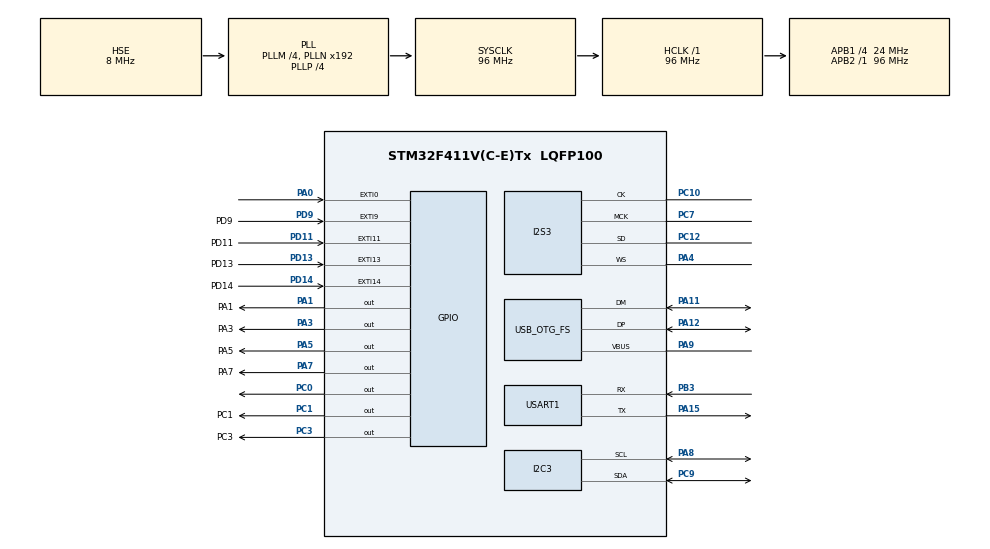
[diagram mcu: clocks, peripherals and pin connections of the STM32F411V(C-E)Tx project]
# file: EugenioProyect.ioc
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Dma.Request0=SPI3_TX
Dma.Request1=USART1_RX
Dma.Request2=USART1_TX
Dma.SPI3_TX.0.Direction=DMA_MEMORY_TO_PERIPH
Dma.SPI3_TX.0.FIFOMode=DMA_FIFOMODE_ENABLE
Dma.SPI3_TX.0.FIFOThreshold=DMA_FIFO_THRESHOLD_FULL
Dma.SPI3_TX.0.Instance=DMA1_Stream5
Dma.SPI3_TX.0.MemBurst=DMA_MBURST_SINGLE
Dma.SPI3_TX.0.MemDataAlignment=DMA_MDATAALIGN_HALFWORD
Dma.SPI3_TX.0.MemInc=DMA_MINC_ENABLE
Dma.SPI3_TX.0.Mode=DMA_CIRCULAR
Dma.SPI3_TX.0.PeriphBurst=DMA_PBURST_SINGLE
Dma.SPI3_TX.0.PeriphDataAlignment=DMA_PDATAALIGN_HALFWORD
Dma.SPI3_TX.0.PeriphInc=DMA_PINC_DISABLE
Dma.SPI3_TX.0.Priority=DMA_PRIORITY_VERY_HIGH
Dma.USART1_RX.1.Direction=DMA_PERIPH_TO_MEMORY
Dma.USART1_RX.1.FIFOMode=DMA_FIFOMODE_DISABLE
Dma.USART1_RX.1.Instance=DMA2_Stream2
Dma.USART1_RX.1.MemDataAlignment=DMA_MDATAALIGN_BYTE
Dma.USART1_RX.1.MemInc=DMA_MINC_ENABLE
Dma.USART1_RX.1.Mode=DMA_NORMAL
Dma.USART1_RX.1.PeriphDataAlignment=DMA_PDATAALIGN_BYTE
Dma.USART1_RX.1.PeriphInc=DMA_PINC_DISABLE
Dma.USART1_RX.1.Priority=DMA_PRIORITY_LOW
Dma.USART1_TX.2.Direction=DMA_MEMORY_TO_PERIPH
Dma.USART1_TX.2.FIFOMode=DMA_FIFOMODE_DISABLE
Dma.USART1_TX.2.Instance=DMA2_Stream7
Dma.USART1_TX.2.MemDataAlignment=DMA_MDATAALIGN_BYTE
Dma.USART1_TX.2.MemInc=DMA_MINC_ENABLE
Dma.USART1_TX.2.Mode=DMA_NORMAL
Dma.USART1_TX.2.PeriphDataAlignment=DMA_PDATAALIGN_BYTE
Dma.USART1_TX.2.PeriphInc=DMA_PINC_DISABLE
Dma.USART1_TX.2.Priority=DMA_PRIORITY_LOW
FATFS._USE_LFN=1
I2C3.I2C_Mode=I2C_Fast
I2S3.AudioFreq=I2S_AUDIOFREQ_44K
I2S3.ErrorAudioFreq=1.45 %
I2S3.FullDuplexMode=I2S_FULLDUPLEXMODE_DISABLE
I2S3.Instance=SPI$Index
I2S3.RealAudioFreq=44.642 KHz
I2S3.VirtualMode=I2S_MODE_MASTER
Mcu.Family=STM32F4
Mcu.Name=STM32F411V(C-E)Tx
Mcu.Package=LQFP100
NVIC.DMA1_Stream5_IRQn=true\:0\:0\:false\:false\:true\:false\:true\:true
NVIC.DMA2_Stream2_IRQn=true\:0\:0\:false\:false\:true\:false\:true\:true
NVIC.DMA2_Stream7_IRQn=true\:0\:0\:false\:false\:true\:false\:true\:true
NVIC.EXTI0_IRQn=true\:0\:0\:false\:false\:true\:true\:true\:true
NVIC.EXTI15_10_IRQn=true\:0\:0\:false\:false\:true\:true\:true\:true
NVIC.EXTI9_5_IRQn=true\:0\:0\:false\:false\:true\:true\:true\:true
NVIC.OTG_FS_IRQn=true\:0\:0\:false\:false\:true\:true\:true\:true
NVIC.PriorityGroup=NVIC_PRIORITYGROUP_0
NVIC.USART1_IRQn=true\:0\:0\:false\:false\:true\:true\:true\:true
PA0-WKUP.GPIO_PuPd=GPIO_PULLDOWN
PA0-WKUP.Signal=GPXTI0
PA1.GPIO_Label=PA1
PA1.PinState=GPIO_PIN_SET
PA1.Signal=GPIO_Output
PA11.Mode=Host_Only
PA11.Signal=USB_OTG_FS_DM
PA12.Mode=Host_Only
PA12.Signal=USB_OTG_FS_DP
PA15.Mode=Asynchronous
PA15.Signal=USART1_TX
PA3.GPIO_Label=PA3
PA3.PinState=GPIO_PIN_SET
PA3.Signal=GPIO_Output
PA4.Mode=Half_Duplex_Master
PA4.Signal=I2S3_WS
PA5.GPIO_Label=PA5
PA5.PinState=GPIO_PIN_SET
PA5.Signal=GPIO_Output
PA7.GPIO_Label=PA7
PA7.PinState=GPIO_PIN_SET
PA7.Signal=GPIO_Output
PA8.Mode=I2C
PA8.Signal=I2C3_SCL
PA9.Mode=Activate_VBUS
PA9.Signal=USB_OTG_FS_VBUS
PB3.Mode=Asynchronous
PB3.Signal=USART1_RX
PB9.GPIO_Pu=GPIO_PULLUP
PB9.Signal=I2C1_SDA
PC0.Signal=GPIO_Output
PC1.GPIO_Label=PC1
PC1.Signal=GPIO_Output
PC10.Mode=Half_Duplex_Master
PC10.Signal=I2S3_CK
PC12.Mode=Half_Duplex_Master
PC12.Signal=I2S3_SD
PC3.GPIO_Label=PC3
PC3.Signal=GPIO_Output
PC7.Mode=Master_Clock_Activated
PC7.Signal=I2S3_MCK
PC9.Mode=I2C
PC9.Signal=I2C3_SDA
PD11.GPIO_Label=PD11
PD11.GPIO_PuPd=GPIO_PULLUP
PD11.Signal=GPXTI11
PD13.GPIO_Label=PD13
PD13.GPIO_PuPd=GPIO_PULLUP
PD13.Signal=GPXTI13
PD14.GPIO_Label=PD14
PD14.GPIO_PuPd=GPIO_PULLUP
PD14.Signal=GPXTI14
PD9.GPIO_Label=PD9
PD9.GPIO_PuPd=GPIO_PULLUP
PD9.Signal=GPXTI9
PH0\ -\ OSC_IN.Mode=HSE-External-Oscillator
PH0\ -\ OSC_IN.Signal=RCC_OSC_IN
PH1\ -\ OSC_OUT.Mode=HSE-External-Oscillator
PH1\ -\ OSC_OUT.Signal=RCC_OSC_OUT
ProjectManager.HeapSize=0x200
ProjectManager.StackSize=0x400
ProjectManager.TargetToolchain=STM32CubeIDE
RCC.48MHZClocksFreq_Value=48000000
RCC.AHBFreq_Value=96000000
RCC.APB1CLKDivider=RCC_HCLK_DIV4
RCC.APB1Freq_Value=24000000
RCC.APB1TimFreq_Value=48000000
RCC.APB2Freq_Value=96000000
RCC.APB2TimFreq_Value=96000000
RCC.CortexFreq_Value=96000000
RCC.HCLKFreq_Value=96000000
RCC.HSE_VALUE=8000000
RCC.HSI_VALUE=16000000
RCC.LSE_VALUE=32768
RCC.PLLI2SM=5
RCC.PLLI2SN=200
RCC.PLLM=4
RCC.PLLP=RCC_PLLP_DIV4
RCC.PLLQ=8
RCC.SYSCLKFreq_VALUE=96000000
RCC.SYSCLKSource=RCC_SYSCLKSOURCE_PLLCLK
RCC.VCOOutputFreq_Value=384000000
USART1.VirtualMode=VM_ASYNC
USB_HOST.BSP.number=1
USB_HOST.USBH_HandleTypeDef=hUsbHostFS
USB_HOST.VirtualModeFS=Msc
USB_HOST0.BSP.STBoard=false
USB_HOST0.BSP.api=Unknown
USB_HOST0.BSP.instance=PC0
USB_HOST0.BSP.ip=GPIO
USB_HOST0.BSP.mode=Output
USB_HOST0.BSP.name=Drive_VBUS_FS
USB_HOST0.BSP.solution=PC0
USB_OTG_FS.VirtualMode=Host_Only
USB_OTG_FS.phy_itface=HCD_PHY_EMBEDDED
VP_FATFS_VS_USB.Mode=USB
VP_USB_HOST_VS_USB_HOST_MSC_FS.Mode=MSC_FS
board=STM32F411E-DISCO

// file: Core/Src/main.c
/* USER CODE BEGIN Header */
/**
  ******************************************************************************
  * @file           : main.c
  * @brief          : Main program body
  ******************************************************************************
  * @attention
  *
  * <h2><center>&copy; Copyright (c) 2021 STMicroelectronics.
  * All rights reserved.</center></h2>
  *
  * This software component is licensed by ST under Ultimate Liberty license
  * SLA0044, the "License"; You may not use this file except in compliance with
  * the License. You may obtain a copy of the License at:
  *                             www.st.com/SLA0044
  *
  ******************************************************************************
  */
/* USER CODE END Header */
#include "main.h"
#include "dma.h"
#include "fatfs.h"
#include "i2c.h"
#include "i2s.h"
#include "usart.h"
#include "usb_host.h"
#include "gpio.h"

/* USER CODE BEGIN Includes */
#include "waveplayer.h"
#include "File_Handling.h"
#include "fonts.h"
#include "ssd1306_oled.h"
#include <stdio.h>
#include "display.h"
#include "parlantes.h"
/* USER CODE END Includes */

void SystemClock_Config(void);
void MX_USB_HOST_Process(void);

/* USER CODE BEGIN PFP */
extern ApplicationTypeDef Appli_state;
extern AUDIO_PLAYBACK_StateTypeDef AudioState;
extern UART_HandleTypeDef huart1;
uint8_t uart_rx_byte = 0;
volatile bool uart_cmd_received = false;
/* USER CODE END PFP */

/* USER CODE BEGIN 0 */
int IsFinished = 0;
bool next_song, prev_song, next_speaker, prev_speaker = false;
uint8_t idx = 0; /* Indice de archivos */
int8_t idS = 0; /* Indice de Parlantes */

uint8_t cantidad_wavs = 12; /* Cantidad de archivos a reproducir */

/* USER CODE END 0 */

int main(void)
{

  /* MCU Configuration--------------------------------------------------------*/

  /* Reset of all peripherals, Initializes the Flash interface and the Systick. */
  HAL_Init();

  /* Configure the system clock */
  SystemClock_Config();

  /* Initialize all configured peripherals */
  MX_GPIO_Init();
  MX_DMA_Init();
  MX_I2S3_Init();
  MX_FATFS_Init();
  MX_USB_HOST_Init();
  MX_USART1_UART_Init();
  MX_I2C3_Init();
  /* USER CODE BEGIN 2 */
  display_Init();
  HAL_UART_Receive_IT(&huart1, &uart_rx_byte, 1);

  /* USER CODE END 2 */

  /* Infinite loop */
  while (1)
  {
    MX_USB_HOST_Process();

    /* USER CODE BEGIN 3 */

   	    if (Appli_state == APPLICATION_READY)
   	    {
   	    	Mount_USB();
   	    	AUDIO_PLAYER_Start(idx);
   	    	display_cancion(idx);
   	    	Activar_Parlante(idS);
   	    	while (1)
   	    	{
   	    		AUDIO_PLAYER_Process(idx, TRUE);

   	    		if (next_song)
   	    		{
   	    		    idx = idx + 1;
   	    		    /* Control de indice */
   	    		    if (idx >= cantidad_wavs)
   	    		    {
   	    		        idx = 0;
   	    		    }
   	    		    AudioState = AUDIO_STATE_NEXT;
   	    		    next_song = false;
   	    		    display_cancion(idx);
      	    	};

   	    		if (next_speaker)
   	    		{
   	    			idS = idS + 1;
   	    			/* Control de indice */
   	    			if(idS>NUM_PARLANTES - 1)
   	    			{
   	    				idS = 0;
   	    			}
   	    			Activar_Parlante(idS);
   	    			next_speaker = false;
   	    			display_cancion(idx);
   	    			AudioState = AUDIO_STATE_PLAY;
   	    		}

   	    		if (prev_song)
   	    		{
   	    			idx = idx - 1;
   	    			/* Control de indice */
   	    			if(idx<0)
   	    			{
   	    				idx = cantidad_wavs-1;
   	    			}
   	    			AudioState = AUDIO_STATE_PREVIOUS;
   	    			prev_song = false;
   	    			display_cancion(idx);
   	    		};

   	    		if (prev_speaker)

   	    		{
   	    			idS = idS - 1;
   	    			/* Control de indice */
   	    			if(idS<0)
   	    			{
   	    				idS = NUM_PARLANTES - 1;
   	    			}
   	    			Activar_Parlante(idS);
   	    			prev_speaker = false;
   	    			display_cancion(idx);
   	    		}

   	    		if(uart_cmd_received)
   	    		{
   	    			AUDIO_PLAYER_Stop();
   	    			//do something
   	    			Activar_Parlante(uart_rx_byte);
   	    			display_cancion(uart_rx_byte);
   	    			AUDIO_PLAYER_Start(uart_rx_byte);
   	    			uart_cmd_received = false;
   	    		}

   	    	}
   	    }
     }
  /* USER CODE END 3 */
}

void SystemClock_Config(void)
{
  RCC_OscInitTypeDef RCC_OscInitStruct = {0};
  RCC_ClkInitTypeDef RCC_ClkInitStruct = {0};

  /** Configure the main internal regulator output voltage
  */
  __HAL_RCC_PWR_CLK_ENABLE();
  __HAL_PWR_VOLTAGESCALING_CONFIG(PWR_REGULATOR_VOLTAGE_SCALE1);

  /** Initializes the RCC Oscillators according to the specified parameters
  * in the RCC_OscInitTypeDef structure.
  */
  RCC_OscInitStruct.OscillatorType = RCC_OSCILLATORTYPE_HSE;
  RCC_OscInitStruct.HSEState = RCC_HSE_ON;
  RCC_OscInitStruct.PLL.PLLState = RCC_PLL_ON;
  RCC_OscInitStruct.PLL.PLLSource = RCC_PLLSOURCE_HSE;
  RCC_OscInitStruct.PLL.PLLM = 4;
  RCC_OscInitStruct.PLL.PLLN = 192;
  RCC_OscInitStruct.PLL.PLLP = RCC_PLLP_DIV4;
  RCC_OscInitStruct.PLL.PLLQ = 8;
  if (HAL_RCC_OscConfig(&RCC_OscInitStruct) != HAL_OK)
  {
    Error_Handler();
  }

  /** Initializes the CPU, AHB and APB buses clocks
  */
  RCC_ClkInitStruct.ClockType = RCC_CLOCKTYPE_HCLK|RCC_CLOCKTYPE_SYSCLK
                              |RCC_CLOCKTYPE_PCLK1|RCC_CLOCKTYPE_PCLK2;
  RCC_ClkInitStruct.SYSCLKSource = RCC_SYSCLKSOURCE_PLLCLK;
  RCC_ClkInitStruct.AHBCLKDivider = RCC_SYSCLK_DIV1;
  RCC_ClkInitStruct.APB1CLKDivider = RCC_HCLK_DIV4;
  RCC_ClkInitStruct.APB2CLKDivider = RCC_HCLK_DIV1;

  if (HAL_RCC_ClockConfig(&RCC_ClkInitStruct, FLASH_LATENCY_3) != HAL_OK)
  {
    Error_Handler();
  }
}

/* USER CODE BEGIN 4 */
void HAL_UART_RxCpltCallback(UART_HandleTypeDef *huart)
{
    if (huart->Instance == USART1)  // Cambiá esto si usás otro UART
    {
        uart_cmd_received = true;

        // Reinicia la recepción para recibir el próximo byte
        HAL_UART_Receive_IT(&huart1, &uart_rx_byte, 1);
    }
}

void HAL_GPIO_EXTI_Callback(uint16_t GPIO_Pin)
{

	if (GPIO_Pin == PD14_Pin)
	{
		next_song = true;
	}

	if (GPIO_Pin == PD13_Pin)
	{
		next_speaker = true;
	}

	if (GPIO_Pin == PD11_Pin)
	{
		prev_speaker = true;
	}

	if (GPIO_Pin == PD9_Pin)
	{
		prev_song = true;
	}
}
/* USER CODE END 4 */

void Error_Handler(void)
{
  __disable_irq();
  while (1)
  {
  }
}
